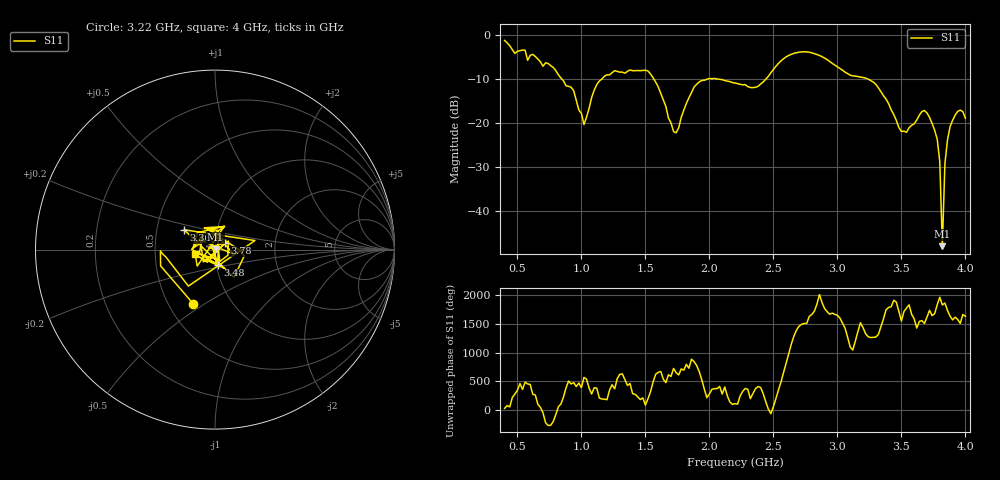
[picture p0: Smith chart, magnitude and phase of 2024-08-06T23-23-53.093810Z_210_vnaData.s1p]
!Created with skrf (http://scikit-rf.org).
# Hz S RI R 50.0
!freq ReS11 ImS11
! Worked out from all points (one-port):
!   181 points, 400 MHz to 4 GHz, reference 50 ohm
!   lowest |S11| = -48.0 dB at 3.82 GHz (marker M1), VSWR 1.01, Z = 50.3 + j0.203 ohm
!   |S11| at or under -10 dB: 1.566 GHz to 1.983 GHz (417 MHz wide, 23.5 % of centre); 2.071 GHz to 2.442 GHz (370.6 MHz wide, 16.4 % of centre); 3.24 GHz to end of sweep (the widest 3 of 4)
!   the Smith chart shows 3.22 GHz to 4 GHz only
!   S11 on the Smith chart (normalised r, x): 3.22 GHz: 0.66, -0.45; 3.36 GHz: 0.69, +0.16; 3.48 GHz: 1.02, -0.18; 3.78 GHz: 1.11, +0.08; 4 GHz: 0.80, -0.04
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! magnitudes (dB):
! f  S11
! 400 MHz  -1.2
! 860 MHz  -10.4
! 940 MHz  -12.7
! 1.02 GHz  -20.3
! 1.12 GHz  -11.3
! 1.3 GHz  -8.4
! 1.52 GHz  -8.2
! 1.6 GHz  -11.7
! 1.72 GHz  -21.9
! 1.76 GHz  -21.1
! 1.92 GHz  -10.6
! 2.2 GHz  -10.9
! 2.38 GHz  -11.6
! 2.66 GHz  -4.1
! 2.86 GHz  -4.6
! 3.1 GHz  -9.1
! 3.22 GHz  -9.8
! 3.36 GHz  -13.8
! 3.48 GHz  -21.0
! 3.56 GHz  -21.1
! 3.68 GHz  -17.1
! 3.78 GHz  -23.7
! 3.8 GHz  -28.8
! 3.82 GHz  -48.0
! 3.84 GHz  -29.2
! 3.86 GHz  -23.9
! 3.94 GHz  -17.3
! 4 GHz  -18.9
